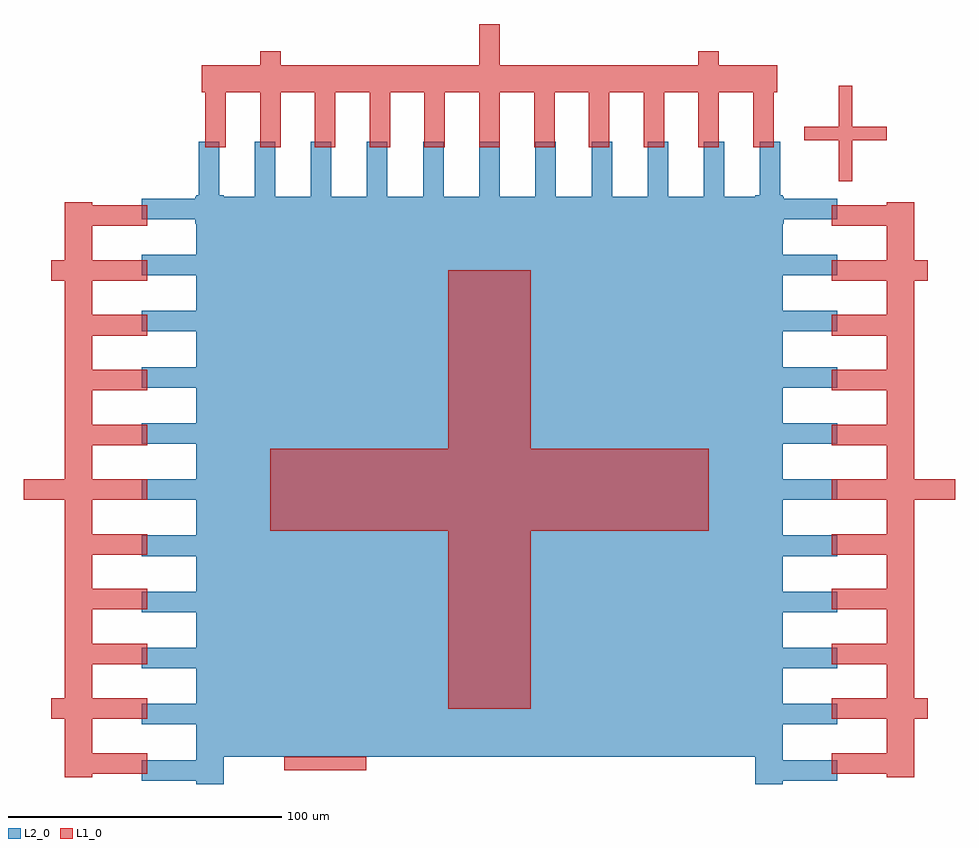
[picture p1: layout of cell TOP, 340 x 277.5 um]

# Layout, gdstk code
from math import pi, radians
import gdstk
lib = gdstk.Library(unit=1e-6, precision=1e-09)
def R(c, l, rs):  # rectangles x0, y0, x1, y1
    for r in rs: c.add(gdstk.rectangle(r[:2], r[2:], *l))
def A(c, l, x, y, w, h, nx, ny, dx, dy):  # array of equal rectangles
    R(c, l, [(x+i*dx, y+j*dy, x+i*dx+w, y+j*dy+h) for i in range(nx) for j in range(ny)])
def P(c, l, *ps):  # polygons
    for p in ps: c.add(gdstk.Polygon(p, *l))
L1_0 = (1, 0)
L2_0 = (2, 0)

vernierlyr2 = lib.new_cell('VernierLyr2')
A(vernierlyr2, L2_0, -53, -65.25, 30, 7.5, 1, 3, 0, 20.5)
A(vernierlyr2, L2_0, -53, 16.75, 30, 7.5, 1, 3, 0, 20.5)
R(vernierlyr2, L2_0, [(-53,-107.5,-43,107.5), (-53,-106.25,-23,-98.75), (-58,-85.75,-23,-78.25), (-63,-3.75,-23,3.75), (-58,78.25,-23,85.75), (-53,98.75,-23,106.25)])

alignlyr2_invert = lib.new_cell('AlignLyr2_Invert')
P(alignlyr2_invert, L2_0, [(17,17),(17,32),(19.5,32),(19.5,52),(22,52),(22,67),(67,67),(67,22),(52,22),(52,19.5),(32,19.5),(32,17)],
  [(22,-67),(22,-52),(19.5,-52),(19.5,-32),(17,-32),(17,-17),(32,-17),(32,-19.5),(52,-19.5),(52,-22),(67,-22),(67,-67)],
  [(-67,-67),(-67,-22),(-52,-22),(-52,-19.5),(-32,-19.5),(-32,-17),(-17,-17),(-17,-32),(-19.5,-32),(-19.5,-52),(-22,-52),(-22,-67)],
  [(-32,17),(-32,19.5),(-52,19.5),(-52,22),(-67,22),(-67,67),(-22,67),(-22,52),(-19.5,52),(-19.5,32),(-17,32),(-17,17)])
alignlyr2_invert.add(gdstk.Reference(vernierlyr2, (0,150), rotation=pi/2))
alignlyr2_invert.add(gdstk.Reference(vernierlyr2, (-150,0), rotation=pi))
alignlyr2_invert.add(gdstk.Reference(vernierlyr2, (150,0)))

aligncorner = lib.new_cell('AlignCorner')

alignmarklyr2 = lib.new_cell('AlignMarkLyr2')
P(alignmarklyr2, L2_0, [(-97.5,-97.5),(-97.5,-17),(-32,-17),(-32,-19.5),(-52,-19.5),(-52,-22),(-67,-22),(-67,-67),(-22,-67),(-22,-52),(-19.5,-52),(-19.5,-32),(-17,-32),(-17,-17),(17,-17),(17,-32),(19.5,-32),(19.5,-52),(22,-52),(22,-67),(67,-67),(67,-22),(52,-22),(52,-19.5),(32,-19.5),(32,-17),(-97.5,-17),(-97.5,67),(-67,67),(-67,22),(-52,22),(-52,19.5),(-32,19.5),(-32,17),(-17,17),(-17,32),(-19.5,32),(-19.5,52),(-22,52),(-22,67),(22,67),(22,52),(19.5,52),(19.5,32),(17,32),(17,17),(32,17),(32,19.5),(52,19.5),(52,22),(67,22),(67,67),(-97.5,67),(-97.5,97.5),(97.5,97.5),(97.5,-97.5)])
alignmarklyr2.add(gdstk.Reference(aligncorner, (-42,42)))
alignmarklyr2.add(gdstk.Reference(aligncorner, (42,-42), rotation=pi))
alignmarklyr2.add(gdstk.Reference(aligncorner, (-42,-42), rotation=pi/2))
alignmarklyr2.add(gdstk.Reference(aligncorner, (42,42), rotation=3*pi/2))

alignlyr2 = lib.new_cell('AlignLyr2')
alignlyr2.add(gdstk.Reference(alignmarklyr2, (0,0)))
alignlyr2.add(gdstk.Reference(vernierlyr2, (0,150), rotation=pi/2))
alignlyr2.add(gdstk.Reference(vernierlyr2, (-150,0), rotation=pi))
alignlyr2.add(gdstk.Reference(vernierlyr2, (150,0)))

vernierlyr1 = lib.new_cell('VernierLyr1')
A(vernierlyr1, L1_0, -25, -63.75, 30, 7.5, 1, 3, 0, 20)
A(vernierlyr1, L1_0, -25, 16.25, 30, 7.5, 1, 3, 0, 20)
R(vernierlyr1, L1_0, [(-5,-105,5,105), (-25,-103.75,5,-96.25), (-25,-83.75,10,-76.25), (-25,-3.75,20,3.75), (-25,76.25,10,83.75), (-25,96.25,5,103.75)])

alignmarklyr1a = lib.new_cell('AlignMarkLyr1a')
P(alignmarklyr1a, L1_0, [(-15,-80),(-15,-15),(-80,-15),(-80,15),(-15,15),(-15,80),(15,80),(15,15),(80,15),(80,-15),(15,-15),(15,-80)])

alignlyr1 = lib.new_cell('AlignLyr1')
R(alignlyr1, L1_0, [(-75,-102.5,-45,-97.5), (127.5,112.5,132.5,147.5), (115,127.5,145,132.5)])
alignlyr1.add(gdstk.Reference(vernierlyr1, (-150,0), rotation=pi))
alignlyr1.add(gdstk.Reference(vernierlyr1, (150,0)))
alignlyr1.add(gdstk.Reference(alignmarklyr1a, (0,0)))
alignlyr1.add(gdstk.Reference(vernierlyr1, (0,150), rotation=pi/2))

top = lib.new_cell('TOP')
top.add(gdstk.Reference(alignlyr2_invert, (0,0)))
top.add(gdstk.Reference(alignlyr2, (0,0)))
top.add(gdstk.Reference(alignlyr1, (0,0)))

lib.write_gds('TOP.gds')
